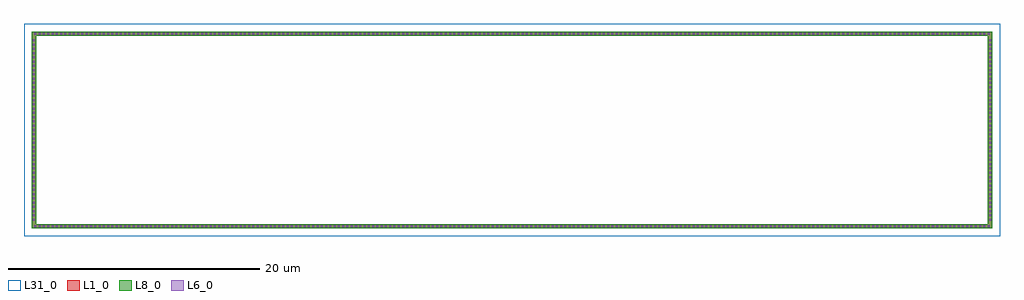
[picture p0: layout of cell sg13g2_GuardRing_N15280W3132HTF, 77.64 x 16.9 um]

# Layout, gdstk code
import gdstk
lib = gdstk.Library(unit=1e-6, precision=1e-09)
def R(c, l, rs):  # rectangles x0, y0, x1, y1
    for r in rs: c.add(gdstk.rectangle(r[:2], r[2:], *l))
def A(c, l, x, y, w, h, nx, ny, dx, dy):  # array of equal rectangles
    R(c, l, [(x+i*dx, y+j*dy, x+i*dx+w, y+j*dy+h) for i in range(nx) for j in range(ny)])
def P(c, l, *ps):  # polygons
    for p in ps: c.add(gdstk.Polygon(p, *l))
L1_0 = (1, 0)
L6_0 = (6, 0)
L8_0 = (8, 0)
L31_0 = (31, 0)

sg13g2_guardring_n15280w = lib.new_cell('sg13g2_GuardRing_N15280W3132HTF')
P(sg13g2_guardring_n15280w, L1_0, [(-38.2,-7.83),(-38.2,7.49),(-37.86,7.49),(-37.86,-7.49),(37.86,-7.49),(37.86,7.49),(-38.2,7.49),(-38.2,7.83),(38.2,7.83),(38.2,-7.83)])
A(sg13g2_guardring_n15280w, L6_0, -37.99, -7.74, 0.16, 0.16, 224, 2, 0.34, 15.32)
A(sg13g2_guardring_n15280w, L6_0, -38.11, -7.22, 0.16, 0.16, 1, 43, 0, 0.34)
A(sg13g2_guardring_n15280w, L6_0, 37.95, -7.22, 0.16, 0.16, 1, 43, 0, 0.34)
P(sg13g2_guardring_n15280w, L8_0, [(-38.2,-7.83),(-38.2,7.49),(-37.86,7.49),(-37.86,-7.49),(37.86,-7.49),(37.86,7.49),(-38.2,7.49),(-38.2,7.83),(38.2,7.83),(38.2,-7.83)])
R(sg13g2_guardring_n15280w, L31_0, [(-38.82,-8.45,38.82,8.45)])

lib.write_gds('sg13g2_GuardRing_N15280W3132HTF.gds')
